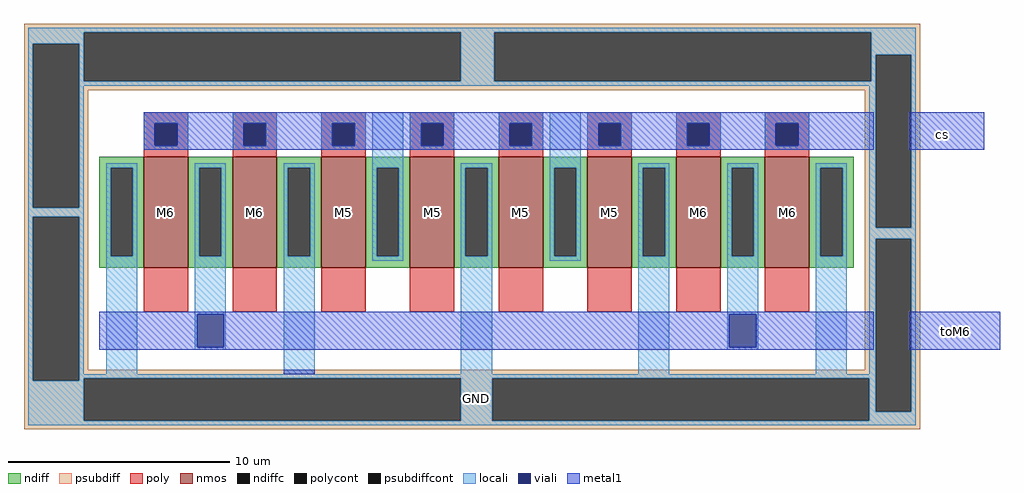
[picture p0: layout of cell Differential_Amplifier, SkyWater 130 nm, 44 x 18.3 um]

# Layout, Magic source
magic
tech sky130A
<< nmos >>
rect -50 0 150 500
rect 350 0 550 500
rect 750 0 950 500
rect 1150 0 1350 500
rect 1550 0 1750 500
rect 1950 0 2150 500
rect 2350 0 2550 500
rect 2750 0 2950 500
<< ndiff >>
rect -250 450 -50 500
rect -250 50 -200 450
rect -100 50 -50 450
rect -250 0 -50 50
rect 150 450 350 500
rect 150 50 200 450
rect 300 50 350 450
rect 150 0 350 50
rect 550 450 750 500
rect 550 50 600 450
rect 700 50 750 450
rect 550 0 750 50
rect 950 450 1150 500
rect 950 50 1000 450
rect 1100 50 1150 450
rect 950 0 1150 50
rect 1350 450 1550 500
rect 1350 50 1400 450
rect 1500 50 1550 450
rect 1350 0 1550 50
rect 1750 450 1950 500
rect 1750 50 1800 450
rect 1900 50 1950 450
rect 1750 0 1950 50
rect 2150 450 2350 500
rect 2150 50 2200 450
rect 2300 50 2350 450
rect 2150 0 2350 50
rect 2550 450 2750 500
rect 2550 50 2600 450
rect 2700 50 2750 450
rect 2550 0 2750 50
rect 2950 450 3150 500
rect 2950 50 3000 450
rect 3100 50 3150 450
rect 2950 0 3150 50
<< ndiffc >>
rect -200 50 -100 450
rect 200 50 300 450
rect 600 50 700 450
rect 1000 50 1100 450
rect 1400 50 1500 450
rect 1800 50 1900 450
rect 2200 50 2300 450
rect 2600 50 2700 450
rect 3000 50 3100 450
<< psubdiff >>
rect -590 1060 3450 1100
rect -590 1010 -320 1060
rect -590 270 -550 1010
rect -340 840 -320 1010
rect 1380 840 1530 1060
rect 3230 960 3450 1060
rect 3230 840 3250 960
rect -340 800 3250 840
rect -340 270 -300 800
rect -590 230 -300 270
rect -590 -510 -550 230
rect -340 -460 -300 230
rect 3200 180 3250 800
rect 3410 180 3450 960
rect 3200 130 3450 180
rect 3200 -460 3250 130
rect -340 -500 3250 -460
rect -340 -510 -320 -500
rect -590 -690 -320 -510
rect 1380 -690 1520 -500
rect 3220 -650 3250 -500
rect 3410 -650 3450 130
rect 3220 -690 3450 -650
rect -590 -730 3450 -690
<< psubdiffcont >>
rect -550 270 -340 1010
rect -320 840 1380 1060
rect 1530 840 3230 1060
rect -550 -510 -340 230
rect 3250 180 3410 960
rect -320 -690 1380 -500
rect 1520 -690 3220 -500
rect 3250 -650 3410 130
<< poly >>
rect -50 650 150 700
rect -50 550 0 650
rect 100 550 150 650
rect -50 500 150 550
rect 350 650 550 700
rect 350 550 400 650
rect 500 550 550 650
rect 350 500 550 550
rect 750 650 950 700
rect 750 550 800 650
rect 900 550 950 650
rect 750 500 950 550
rect 1150 650 1350 700
rect 1150 550 1200 650
rect 1300 550 1350 650
rect 1150 500 1350 550
rect 1550 650 1750 700
rect 1550 550 1600 650
rect 1700 550 1750 650
rect 1550 500 1750 550
rect 1950 650 2150 700
rect 1950 550 2000 650
rect 2100 550 2150 650
rect 1950 500 2150 550
rect 2350 650 2550 700
rect 2350 550 2400 650
rect 2500 550 2550 650
rect 2350 500 2550 550
rect 2750 650 2950 700
rect 2750 550 2800 650
rect 2900 550 2950 650
rect 2750 500 2950 550
rect -50 -200 150 0
rect 350 -200 550 0
rect 750 -200 950 0
rect 1150 -200 1350 0
rect 1550 -200 1750 0
rect 1950 -200 2150 0
rect 2350 -200 2550 0
rect 2750 -200 2950 0
<< polycont >>
rect 0 550 100 650
rect 400 550 500 650
rect 800 550 900 650
rect 1200 550 1300 650
rect 1600 550 1700 650
rect 2000 550 2100 650
rect 2400 550 2500 650
rect 2800 550 2900 650
<< locali >>
rect -570 1060 3430 1080
rect -570 1010 -320 1060
rect -570 270 -550 1010
rect -340 840 -320 1010
rect 1380 840 1530 1060
rect 3230 960 3430 1060
rect 3230 840 3250 960
rect -340 820 3250 840
rect -340 270 -320 820
rect -50 650 150 700
rect -50 550 0 650
rect 100 550 150 650
rect -50 530 150 550
rect 350 650 550 700
rect 350 550 400 650
rect 500 550 550 650
rect 350 530 550 550
rect 750 650 950 700
rect 750 550 800 650
rect 900 550 950 650
rect 750 530 950 550
rect -570 230 -320 270
rect -570 -510 -550 230
rect -340 -480 -320 230
rect -220 450 -80 470
rect -220 50 -200 450
rect -100 50 -80 450
rect -220 -480 -80 50
rect 180 450 320 470
rect 180 50 200 450
rect 300 50 320 450
rect 180 -210 320 50
rect 180 -360 190 -210
rect 310 -360 320 -210
rect 180 -370 320 -360
rect 580 450 720 470
rect 580 50 600 450
rect 700 50 720 450
rect 580 -480 720 50
rect 980 450 1120 700
rect 1150 650 1350 700
rect 1150 550 1200 650
rect 1300 550 1350 650
rect 1150 530 1350 550
rect 1550 650 1750 700
rect 1550 550 1600 650
rect 1700 550 1750 650
rect 1550 530 1750 550
rect 980 50 1000 450
rect 1100 50 1120 450
rect 980 30 1120 50
rect 1380 450 1520 470
rect 1380 50 1400 450
rect 1500 50 1520 450
rect 1380 -480 1520 50
rect 1780 450 1920 700
rect 1950 650 2150 700
rect 1950 550 2000 650
rect 2100 550 2150 650
rect 1950 530 2150 550
rect 2350 650 2550 700
rect 2350 550 2400 650
rect 2500 550 2550 650
rect 2350 530 2550 550
rect 2750 650 2950 700
rect 2750 550 2800 650
rect 2900 550 2950 650
rect 2750 530 2950 550
rect 1780 50 1800 450
rect 1900 50 1920 450
rect 1780 30 1920 50
rect 2180 450 2320 470
rect 2180 50 2200 450
rect 2300 50 2320 450
rect 2180 -480 2320 50
rect 2580 450 2720 470
rect 2580 50 2600 450
rect 2700 50 2720 450
rect 2580 -210 2720 50
rect 2580 -360 2590 -210
rect 2710 -360 2720 -210
rect 2580 -370 2720 -360
rect 2980 450 3120 470
rect 2980 50 3000 450
rect 3100 50 3120 450
rect 2980 -480 3120 50
rect 3220 180 3250 820
rect 3410 180 3430 960
rect 3220 130 3430 180
rect 3220 -480 3250 130
rect -340 -500 3250 -480
rect -340 -510 -320 -500
rect -570 -690 -320 -510
rect 1380 -690 1520 -500
rect 3220 -650 3250 -500
rect 3410 -650 3430 130
rect 3220 -690 3430 -650
rect -570 -710 3430 -690
<< viali >>
rect 0 550 100 650
rect 400 550 500 650
rect 800 550 900 650
rect 190 -360 310 -210
rect 1200 550 1300 650
rect 1600 550 1700 650
rect 2000 550 2100 650
rect 2400 550 2500 650
rect 2800 550 2900 650
rect 2590 -360 2710 -210
<< metal1 >>
rect -50 650 3240 700
rect -50 550 0 650
rect 100 550 400 650
rect 500 550 800 650
rect 900 550 1200 650
rect 1300 550 1600 650
rect 1700 550 2000 650
rect 2100 550 2400 650
rect 2500 550 2800 650
rect 2900 550 3240 650
rect -50 530 3240 550
rect 3400 530 3740 700
rect -250 -210 3240 -200
rect -250 -360 190 -210
rect 310 -360 2590 -210
rect 2710 -360 3240 -210
rect -250 -370 3240 -360
rect 3400 -370 3810 -200
rect 580 -480 720 -460
<< labels >>
flabel space 750 -200 950 700 0 FreeSans 800 0 0 0 M5
flabel space 1150 -200 1350 700 0 FreeSans 800 0 0 0 M5
flabel space 1550 -200 1750 700 0 FreeSans 800 0 0 0 M5
flabel space 1950 -200 2150 700 0 FreeSans 800 0 0 0 M5
flabel space -50 -200 150 700 0 FreeSans 800 0 0 0 M6
flabel space 350 -200 550 700 0 FreeSans 800 0 0 0 M6
flabel space 2350 -200 2550 700 0 FreeSans 800 0 0 0 M6
flabel space 2750 -200 2950 700 0 FreeSans 800 0 0 0 M6
flabel metal1 3610 -290 3610 -290 0 FreeSans 800 0 0 0 toM6
port 2 nsew
flabel metal1 3550 600 3550 600 0 FreeSans 800 0 0 0 cs
port 1 nsew
flabel locali 1450 -590 1450 -590 0 FreeSans 800 0 0 0 GND
port 3 nsew
<< end >>
